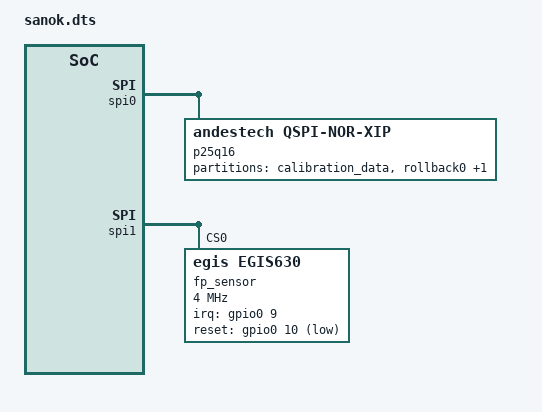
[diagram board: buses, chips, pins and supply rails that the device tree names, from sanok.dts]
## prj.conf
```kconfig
# Copyright 2025 The ChromiumOS Authors
# Use of this source code is governed by a BSD-style license that can be
# found in the LICENSE file.

CONFIG_BOARD_SANOK=y

CONFIG_PLATFORM_EC_NOINIT_END_OF_RAM_SECTION=n
# Hardcode 1MB flash in hex for now
CONFIG_PLATFORM_EC_FLASH_SIZE_BYTES=100000
CONFIG_XIP=y

CONFIG_EXCEPTION_DEBUG=y
CONFIG_PLATFORM_EC_ROLLBACK_MPU_PROTECT=n

# TODO: FIX: TX interupt drivern uart doesn't work - shell doesn't respond to input (only first enter)
#CONFIG_SHELL_BACKEND_SERIAL_API_POLLING=y

# WDT
# RWSIG takes more than 500ms, which causes not reloading WDT
CONFIG_WDT_DISABLE_AT_BOOT=y
# Max posibble value
CONFIG_PLATFORM_EC_WATCHDOG_PERIOD_MS=500
# Disable till timer -> hook_tick is fixed 
# Set HOOK_TICK INTERVAL in microseconds to reload watchdog
# Lower the tick interval to have wdt period > 2 * reload period
#CONFIG_CROS_EC_HOOK_TICK_INTERVAL=200000
# Andes watchdog doesn't support warnings before the actual reset
CONFIG_PLATFORM_EC_WATCHDOG_WARNING_LEADING_TIME_MS=0

# Enable USB for HC
CONFIG_UDC_DRIVER=y
CONFIG_USB_DEVICE_STACK_NEXT=y
# TODO determine a proper value
CONFIG_UDC_BUF_POOL_SIZE=2048
CONFIG_USB_DEVICE_MAX_POWER=250

CONFIG_USB_DEVICE_MANUFACTURER="Google"
CONFIG_USB_DEVICE_PRODUCT="FPMCU"
CONFIG_USB_DEVICE_VID=0x18D1
CONFIG_USB_DEVICE_PID=0x5401
CONFIG_USB_DEVICE_SELF_POWERED=n
CONFIG_USB_DEVICE_REMOTE_WAKEUP=y
CONFIG_USB_DEVICE_SN="0"
CONFIG_USB_DEVICE_SN_HWINFO=y

# Use USB for signaling MKBP events
CONFIG_PLATFORM_EC_MKBP_USE_GPIO=n
CONFIG_PLATFORM_EC_MKBP_USE_CUSTOM=y

# TODO determine a proper value
CONFIG_EC_HOST_CMD_HANDLER_RX_BUFFER_SIZE=528
CONFIG_EC_HOST_CMD_HANDLER_TX_BUFFER_SIZE=520

CONFIG_FPU_SHARING=n
CONFIG_FLOAT_HARD=y

# SPI/Flash related configs
CONFIG_SPI_NOR=n
CONFIG_FLASH_ANDES_QSPI_XIP_COUNT_REGS=y
CONFIG_HEAP_MEM_POOL_SIZE=1024

CONFIG_SYS_CLOCK_TICKS_PER_SEC=10000

# No access to hardware WP pin, use custome method
CONFIG_PLATFORM_EC_WP_CUSTOM=y

# Page layout is needed for Flash Shell, but Flash XIP driver doesn't read it in runtime
CONFIG_FLASH_SHELL=n

# Disable for bring-up

# Power Management
CONFIG_PM=n
CONFIG_PM_DEVICE=n

CONFIG_LOG_PRINTK=n

# BBRAM not supported
CONFIG_BBRAM=n
# Page layout is needed for Flash Shell, but Flash XIP driver doesn't read it in runtime
CONFIG_FLASH_SHELL=n

CONFIG_SYS_CLOCK_TICKS_PER_SEC=10000

# Make possibility to enter bootloader to reflash
CONFIG_PLATFORM_EC_HOST_COMMAND_ENTER_BOOTLOADER=y

# Enable the command to get data from OTP
CONFIG_PLATFORM_EC_FINGERPRINT_VENDOR_COMMAND=y

# Noficed an error with 106k
CONFIG_FINGERPRINT_SENSOR_EGIS630_HEAP_SIZE=112640

# To workaround problem with KERNEL_THREAD_SHELL_UNWIND
CONFIG_KERNEL_SHELL=n

CONFIG_FP_SENSOR_ALLOW_EXTERNAL_CALI_DATA=y

# The default value is assigned base on an offset within ec-ro node, not wp-ro which is an assumption in the code.
CONFIG_PLATFORM_EC_RO_PUBKEY_STORAGE_OFF=261056
CONFIG_CROS_EC_RO_MEM_OFF=0x1000
CONFIG_CROS_EC_RO_SIZE=0x3f000
# RO size - 64 bytes of signature. Doesn't matter for RW
CONFIG_SOC_EGIS_ET171_VENDOR_FIRMWARE_SIZE=0x3efc0

#RISCV PMP entry configuration
CONFIG_PMP_NO_LOCK_GLOBAL=y
CONFIG_NULL_POINTER_EXCEPTION_DETECTION_PMP=y
CONFIG_HW_STACK_PROTECTION=y
CONFIG_MEM_ATTR=y

# Use EGIS ET171's secure OTP storage for keys.
CONFIG_EGIS_ET171_OTP_KEY=y
```

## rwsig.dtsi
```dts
/* Copyright 2023 The ChromiumOS Authors.
 * Use of this source code is governed by a BSD-style license that can be
 * found in the LICENSE file.
 */

&binman {
	wp-ro {
		ec-ro {
			/* Last part before signature for bootloader */
			key-ro {
				compatible = "cros-ec,flash-layout";
				type = "section";
				offset = <(0x40000 - 0x1000 - 64 - 0x400)>;
				size = <0x400>;
			};
			/* Signature for bootloader ECDSA-SHA256. TODO: inside ec-ro? */ 
			sig-ro {
				type = "section";
				offset = <(0x40000 - 0x1000 - 64)>;
				size = <64>;
			};
		};
	};

	ec-rw {
		rw-fw {
			rw-rbver {
				size = <4>;
				type = "section";
				/* points to
				 * current_image_data.rollback_version
				 */
				offset-from-elf = <&zephyr_rw>,
					"current_image_data", <40>;
				overlap;
			};

			sig-rw {
				type = "section";
				offset = <(0xbe000 - 0x400)>;
				size = <0x400>;
			};
			pad-byte = <0xff>;
		};
	};
};
```

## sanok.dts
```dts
/* Copyright 2023 The ChromiumOS Authors.
 * Use of this source code is governed by a BSD-style license that can be
 * found in the LICENSE file.
 */

#include <egis/common_priv.dtsi>
#include <zephyr/dt-bindings/memory-attr/memory-attr-riscv.h>

#include "soc.dtsi"
#include "gpio.dtsi"
#include "rwsig.dtsi"

#include <cros/integrated_fwid.dtsi>

#define EGIG630_DEFAULT_IMAGE_PROPS \
	width = <80>; \
	height = <64>; \
	bits-per-pixel = <8>; \
	frame-size = <5120>; \
	v4l2-pixel-format = "V4L2_PIX_FMT_GREY";

#define EGIG630_TEST_IMAGE_PROPS \
	width = <80>; \
	height = <64>; \
	bits-per-pixel = <16>; \
	frame-size = <10240>; \
	v4l2-pixel-format = "V4L2_PIX_FMT_GREY";

/ {
	chosen {
		cros-fp,fingerprint-sensor = &fp_sensor;
		cros-ec,flash = &p25q16;
		zephyr,flash = &p25q16;
		zephyr,flash-controller = &p25q16;
		flash-header = &flash_header;
	};

	named-bbram-regions {
		compatible = "named-bbram-regions";

		scratchpad {
			offset = <0x00>;
			size = <0x02>;
		};
		saved-reset-flags {
			offset = <0x02>;
			size = <0x04>;
		};
		saved-panic-reason {
			offset = <0x06>;
			size = <0x02>;
		};
		saved-panic-info {
			offset = <0x08>;
			size = <0x02>;
		};
		saved-panic-exception {
			offset = <0x0a>;
			size = <0x02>;
		};
		saved-panic-flags {
			offset = <0x0c>;
			size = <0x02>;
		};
	};


	/* Map the sections to fit the flash chip protection table */ 
	binman {
		/* SDCP flash header 4kB */

		/* Fill 1/4 of 1MB */
		wp-ro {
			size = <0x40000>;
			flash-header {
				offset = <0x0>;
				size = <0x1000>;
				type = "blob";
				filename = "../build-ro/flash_header.bin";
			};
			ec-ro {
				offset = <0x1000>;
				size = <(0x40000 - 0x1000)>;
				pad-byte = <0xff>;
			};
		};

		/* Use the rest for RW + Rollbacks. Erase unit(4kB) per rollback */
		rollback0 {
			offset = <0x40000>;
			size = <0x1000>;
			type = "blob";
			filename = "../build-rw/rollback_initial_data.bin";
		};

		rollback1 {
			offset = <0x41000>;
			size = <0x1000>;
			type = "blob";
			filename = "../build-rw/rollback_initial_data.bin";
		};

		ec-rw {
			offset = <0x42000>;
			size = <0xbe000>;
			rw-fw {
				/*
				 * Clang doesn't emit STT_SECTION symbols (also
				 * called 'section symbols'), so 'rom_start'
				 * symbol is not available. Fortunately, Zephyr
				 * linker scripts provide '__rom_start_address'
				 * symbol which points to the beginning of
				 * 'rom_start' section.
				 */
				zephyr-rw {
					elf-base-sym = "__rom_start_address";
				};
			};
		};
		pad-byte = <0xff>;
	};
};

&spi0 {
	p25q16: qspi-nor-flash {
		compatible = "andestech,qspi-nor-xip", "jedec,spi-nor";
		size = <DT_SIZE_K(1024)>;
		status = "okay";
	};
};

&p25q16 {
	partitions {
		compatible = "fixed-partitions";
		#address-cells = <1>;
		#size-cells = <1>;

		calibration_data: partition@1b9 {
			label = "calibration_data";
			reg = <0x1b9 256>;
		};

		rollback0: partition@40000 {
			label = "rollback0";
			reg = <0x40000 DT_SIZE_K(4)>;
		};

		rollback1: partition@41000 {
			label = "rollback1";
			reg = <0x41000 DT_SIZE_K(4)>;
		};
	};
};

&spi1 {
	fp_sensor: egis630@0 {
		compatible = "egis,egis630";
		reg = <0>;
		spi-max-frequency = <4000000>;

		configs {
			compatible = "fingerprint-image-frame-params";
			config0 {
				EGIG630_DEFAULT_IMAGE_PROPS
				capture-type = "FINGERPRINT_CAPTURE_TYPE_SIMPLE_IMAGE";
			};
			config1 {
				EGIG630_TEST_IMAGE_PROPS
				capture-type = "FINGERPRINT_CAPTURE_TYPE_PATTERN0";
			};
			config2 {
				EGIG630_TEST_IMAGE_PROPS
				capture-type = "FINGERPRINT_CAPTURE_TYPE_PATTERN1";
			};
			config3 {
				EGIG630_TEST_IMAGE_PROPS
				capture-type = "FINGERPRINT_CAPTURE_TYPE_DEFECT_PXL_TEST";
			};
			config4 {
				EGIG630_TEST_IMAGE_PROPS
				capture-type = "FINGERPRINT_CAPTURE_TYPE_ABNORMAL_TEST";
			};
			config5 {
				EGIG630_TEST_IMAGE_PROPS
				capture-type = "FINGERPRINT_CAPTURE_TYPE_NOISE_TEST";
			};
			config6 {
				EGIG630_TEST_IMAGE_PROPS
				capture-type = "FINGERPRINT_CAPTURE_TYPE_QUALITY_TEST";
			};
		};

		irq-gpios = <&gpio0 9 GPIO_ACTIVE_HIGH>;
		reset-gpios = <&gpio0 10 GPIO_ACTIVE_LOW>;
		calibration-data-addr = <0x800001b9>;
	};
};

/ {
       rollback: rollback@80040000 {
               compatible = "zephyr,memory-region";
               reg = <0x80040000 DT_SIZE_K(8)>;
               zephyr,memory-region = "ROLLBACK_REGION";
               zephyr,memory-attr = <(DT_MEM_RISCV_TYPE_IO_R)>;
       };
};
```

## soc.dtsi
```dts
/* Copyright 2023 The ChromiumOS Authors.
 * Use of this source code is governed by a BSD-style license that can be
 * found in the LICENSE file.
 */

#include <cros/egis/et171.dtsi>

/delete-node/ &sram;

/ {
	sdcp: memory@0 {
		device_type = "memory";
		compatible = "mmio-sram";
		reg = <0x00000000 256>;
	};
	sram: memory@400 {
		device_type = "memory";
		compatible = "mmio-sram";
		reg = <0x00000400 DT_SIZE_K(383)>;
	};
};

&spi0 {
	status = "okay";
};

&spi1 {
	status = "okay";
	clock-frequency = <100000000>;
};

&syscon {
	status = "okay";
};

&uart0 {
	status = "okay";
	current-speed = <115200>;
	/delete-property/ clock-frequency;
};

&clock {
	ahb-divide = <2>;
	apb-divide = <1>;
};
```

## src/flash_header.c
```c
/* Copyright 2023 The ChromiumOS Authors
 * Use of this source code is governed by a BSD-style license that can be
 * found in the LICENSE file.
 */

#include <stddef.h>
#include <stdint.h>

#include <zephyr/toolchain.h>

struct egis_sdcp_flash_header {
	uint8_t tag[8];
	uint32_t bootloader_ver;
	uint32_t bootloader_addr;
	uint32_t bootloader_size;
	uint32_t fw_ver;
	uint32_t fw_addr;
	uint32_t fw_size;
	uint32_t bootrom_ver;
	uint32_t bootrom_addr;
	uint32_t bootrom_size;
	uint32_t cert_m_addr;
	uint32_t cert_m_size;
	uint8_t otp_per_dev_skey_index;
	uint8_t pk_d[65];
	uint8_t s_m[64];
	uint8_t otp_egis_skey_index;
	uint8_t pk_d_egis[65];
	uint8_t sig_pk_d_egis[64];
	uint8_t pk_m[65];
	uint8_t s_goog[64];
	uint32_t mt_data_size;
	uint8_t mt_data[128];
} __packed;

struct egis_sdcp_flash_header flash_header = {
	.tag = { 0x45, 0x54, 0x55, 0x39, 0x30, 0x35, 0x0, 0x0 }, /* "ETU905" */
	.bootloader_ver = 0xffffffff,
	.bootloader_addr = 0xffffffff,
	.bootloader_size = 0xffffffff,
	.fw_ver = 0xaaaaaaaa,
	.fw_addr = CONFIG_CROS_EC_RO_MEM_OFF + CONFIG_FLASH_BASE_ADDRESS,
	.fw_size = CONFIG_CROS_EC_RO_SIZE - 64, /* WP region - ECDSA signature
						   at the end */
	.bootrom_ver = 0xffffffff,
	.bootrom_addr = 0xffffffff,
	.bootrom_size = 0xffffffff,
	.cert_m_addr = CONFIG_FLASH_BASE_ADDRESS +
		       offsetof(struct egis_sdcp_flash_header, pk_m),
	.cert_m_size = 64 + 65, /* Size of the pk_m + s_goog */
	.otp_per_dev_skey_index = 0,
	.pk_d = { 0 },
	.s_m = { 0 },
	.otp_egis_skey_index = 0,
	.pk_d_egis = { 0 },
	.sig_pk_d_egis = { 0 },
	.pk_m = { 0x04, 0xdb, 0x68, 0x13, 0x51, 0xcf, 0xec, 0x9a, 0x92, 0xce,
		  0x00, 0xba, 0x17, 0xc6, 0xbe, 0xd2, 0xd8, 0x5b, 0x1d, 0xb8,
		  0xd6, 0xbf, 0x07, 0x82, 0xad, 0xe7, 0xc6, 0xbe, 0x69, 0xe2,
		  0x1d, 0x1a, 0x45, 0x7b, 0x40, 0x8c, 0xac, 0xc7, 0x4d, 0x89,
		  0x79, 0x98, 0x68, 0x74, 0x10, 0xcd, 0x45, 0xe4, 0xfb, 0xff,
		  0x62, 0x73, 0x0e, 0xbc, 0xc8, 0x7d, 0xac, 0x81, 0xf6, 0xb2,
		  0xba, 0x12, 0x6c, 0x1e, 0x8a }, /* Egis pk_m */
	.s_goog = { 0x34, 0x51, 0x71, 0x9a, 0xab, 0x29, 0x1a, 0x3f, 0x37, 0x14,
		    0x03, 0xb2, 0xc3, 0x19, 0xcc, 0x40, 0xba, 0x18, 0x4e, 0xee,
		    0xcf, 0x8d, 0xbc, 0x9d, 0x23, 0x40, 0x20, 0xbe, 0x15, 0x24,
		    0xfd, 0xbd, 0xc1, 0xfb, 0xed, 0x69, 0x6d, 0xf5, 0xe9, 0xb5,
		    0xc6, 0x34, 0x6b, 0xa0, 0x27, 0x3c, 0x75, 0x65, 0xd9, 0xe1,
		    0x3d, 0x8a, 0xa4, 0xf7, 0xa0, 0x45, 0x57, 0x76, 0x47, 0x10,
		    0x67, 0xe0, 0xff, 0xa6 },
};
```

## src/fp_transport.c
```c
/* Copyright 2024 The ChromiumOS Authors
 * Use of this source code is governed by a BSD-style license that can be
 * found in the LICENSE file.
 */

#include "console.h"
#include "host_command.h"
#include "hwtimer.h"
#include "printf.h"
#include "uart.h"
#include "usb_console.h"
#include "util.h"

#include <stdarg.h>
#include <string.h>

#include <zephyr/device.h>
#include <zephyr/devicetree.h>
#include <zephyr/init.h>
#include <zephyr/kernel.h>
#include <zephyr/linker/linker-defs.h>
#include <zephyr/logging/log.h>
#include <zephyr/mgmt/ec_host_cmd/backend.h>
#include <zephyr/mgmt/ec_host_cmd/ec_host_cmd.h>
#include <zephyr/sys/util.h>

void usb_set_mkbp(int active)
{
	if (active) {
		ec_host_cmd_backend_usb_trigger_event();
	}
}

int mkbp_set_host_active_via_custom(int active, uint32_t *timestamp)
{
	usb_set_mkbp(active);
	if (timestamp) {
		*timestamp = __hw_clock_source_read();
	}

	return EC_SUCCESS;
}
```

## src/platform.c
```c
/* Copyright 2025 The ChromiumOS Authors
 * Use of this source code is governed by a BSD-style license that can be
 * found in the LICENSE file.
 */

#include "console.h"
#include "fpsensor/fpsensor.h"
#include "spi_flash_reg.h"
#include "util.h"

#include <stdarg.h>
#include <string.h>

#include <zephyr/device.h>
#include <zephyr/devicetree.h>
#include <zephyr/drivers/flash.h>
#include <zephyr/drivers/flash/andes_flash_xip_api_ex.h>
#include <zephyr/drivers/syscon.h>
#include <zephyr/init.h>
#include <zephyr/kernel.h>
#include <zephyr/logging/log.h>
#include <zephyr/sys/util.h>

#define flash_ctrl_dev DEVICE_DT_GET(DT_CHOSEN(zephyr_flash_controller))

// TODO move to chip familily code?
// TODO add ifdef extended flash ops and flash driver
// TODO somehow move AE350_SPI1->INTREN = 0; AE350_SPI1->TIMING = 0; here?
static int enable_qspi(void)
{
	int ret;
	struct andes_xip_ex_ops_mem_read_cmd_in rd_cmd = {
		.cmd = FLASH_ANDES_XIP_MEM_RD_CMD_EB,
	};
	struct andes_xip_ex_ops_set_in set_regs = {
		.regs = { 0 },
		.masks = { 0 },
	};

	set_regs.regs[1] = SPI_FLASH_SR2_QE;
	set_regs.masks[1] = SPI_FLASH_SR2_QE;
	ret = flash_ex_op(flash_ctrl_dev, FLASH_ANDES_XIP_EX_OP_SET_STATUS_REGS,
			  (uintptr_t)&set_regs, 0);
	if (ret) {
		return ret;
	}

	ret = flash_ex_op(flash_ctrl_dev, FLASH_ANDES_XIP_EX_OP_MEM_READ_CMD,
			  (uintptr_t)&rd_cmd, 0);

	return ret;
}
SYS_INIT(enable_qspi, POST_KERNEL, 51);

static int command_srs(int argc, const char **argv)
{
	char *e;

	if (argc == 3) {
		uint32_t srs = strtoi(argv[1], &e, 0);

		if (*e) {
			return EC_ERROR_PARAM1;
		}

		uint32_t mask = strtoi(argv[2], &e, 0);
		if (*e) {
			return EC_ERROR_PARAM2;
		}

		struct andes_xip_ex_ops_set_in op_in;

		op_in.regs[0] = (uint8_t)(srs & 0xff);
		op_in.regs[1] = (uint8_t)(srs >> 8 & 0xff);
		op_in.regs[2] = (uint8_t)(srs >> 16 & 0xff);
		op_in.masks[0] = (uint8_t)(mask & 0xff);
		op_in.masks[1] = (uint8_t)(mask >> 8 & 0xff);
		op_in.masks[2] = (uint8_t)(mask >> 16 & 0xff);

		return flash_ex_op(flash_ctrl_dev,
				   FLASH_ANDES_XIP_EX_OP_SET_STATUS_REGS,
				   (uintptr_t)&op_in, 0);
	} else if (argc == 1) {
		int ret;
		struct andes_xip_ex_ops_get_out op_out;

		ret = flash_ex_op(flash_ctrl_dev,
				  FLASH_ANDES_XIP_EX_OP_GET_STATUS_REGS,
				  (uintptr_t)NULL, &op_out);

		if (ret) {
			printk("error: %d\n", ret);
		} else {
			printk("sr1: 0x%02x\n", op_out.regs[0]);
			printk("sr2: 0x%02x\n", op_out.regs[1]);
			printk("sr3: 0x%02x\n", op_out.regs[2]);
		}
	} else {
		return -1;
	}

	return EC_SUCCESS;
};
DECLARE_CONSOLE_COMMAND(srs, command_srs, "", "");

static int command_srs_unlock(int argc, const char **argv)
{
	struct andes_xip_ex_ops_lock_in op_in = {
		.enable = false,
	};

	return flash_ex_op(flash_ctrl_dev, FLASH_ANDES_XIP_EX_OP_LOCK,
			   (uintptr_t)&op_in, 0);
};
DECLARE_CONSOLE_COMMAND(srs_unlock, command_srs_unlock, "", "");

int fp_vendor_command(uint32_t param, uint8_t *buf, size_t buf_size)
{
	const size_t mt_data_size = 64;
	memcpy(buf, (uint8_t *)0x800001BD, mt_data_size);

	return mt_data_size;
}

static int wp_custom = 0;
int write_protect_is_asserted_custom(void)
{
	return wp_custom;
}

static int command_wp1(int argc, const char **argv)
{
	wp_custom = 1;

	return 0;
};
DECLARE_CONSOLE_COMMAND(wp1, command_wp1, "", "");

static int command_wp0(int argc, const char **argv)
{
	wp_custom = 0;

	return 0;
};
DECLARE_CONSOLE_COMMAND(wp0, command_wp0, "", "");
```
